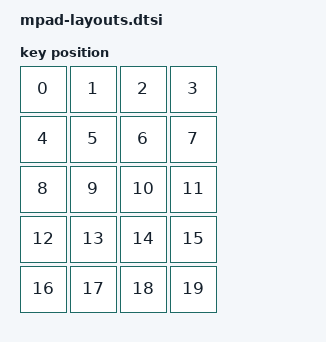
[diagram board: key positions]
// See https://zmk.dev/docs/development/hardware-integration/physical-layouts
// for how to configure this.

#include <physical_layouts.dtsi>
#include <dt-bindings/led/led.h>

/ {
    layout_numpad_20_key: layout_numpad_20_key {
        compatible = "zmk,physical-layout";
        display-name = "20 Key Numpad";

        keys  //                     w   h    x    y     rot    rx    ry
            = <&key_physical_attrs 100 100    0    0       0     0     0>
            , <&key_physical_attrs 100 100  100    0       0     0     0>
            , <&key_physical_attrs 100 100  200    0       0     0     0>
            , <&key_physical_attrs 100 100  300    0       0     0     0>
            , <&key_physical_attrs 100 100    0  100       0     0     0>
            , <&key_physical_attrs 100 100  100  100       0     0     0>
            , <&key_physical_attrs 100 100  200  100       0     0     0>
            , <&key_physical_attrs 100 100  300  100       0     0     0>
            , <&key_physical_attrs 100 100    0  200       0     0     0>
            , <&key_physical_attrs 100 100  100  200       0     0     0>
            , <&key_physical_attrs 100 100  200  200       0     0     0>
            , <&key_physical_attrs 100 100  300  200       0     0     0>
            , <&key_physical_attrs 100 100    0  300       0     0     0>
            , <&key_physical_attrs 100 100  100  300       0     0     0>
            , <&key_physical_attrs 100 100  200  300       0     0     0>
            , <&key_physical_attrs 100 100  300  300       0     0     0>
            , <&key_physical_attrs 100 100    0  400       0     0     0>
            , <&key_physical_attrs 100 100  100  400       0     0     0>
            , <&key_physical_attrs 100 100  200  400       0     0     0>
            , <&key_physical_attrs 100 100  300  400       0     0     0>
            ;
    };
};

&pinctrl {
    spi3_default: spi3_default {
        group1 {
            psels = <NRF_PSEL(SPIM_MOSI, 1, 11)>;
        };
    };

    spi3_sleep: spi3_sleep {
        group1 {
            psels = <NRF_PSEL(SPIM_MOSI, 1, 11)>;
            low-power-enable;
        };
    };
};

&spi3 {
    compatible = "nordic,nrf-spim";
    status = "okay";

    pinctrl-0 = <&spi3_default>;
    pinctrl-1 = <&spi3_sleep>;
    pinctrl-names = "default", "sleep";

    led_strip: ws2812@0 {
        compatible = "worldsemi,ws2812-spi";

        /* SPI */
        reg = <0>; /* ignored, but necessary for SPI bindings */
        spi-max-frequency = <4000000>;

        /* WS2812 */
        chain-length = <20>; /* number of LEDs */
        spi-one-frame = <0x70>;
        spi-zero-frame = <0x40>;
        color-mapping = <LED_COLOR_ID_GREEN
                         LED_COLOR_ID_RED
                         LED_COLOR_ID_BLUE>;
    };
};

/ {
    chosen {
        zmk,underglow = &led_strip;
    };
};
